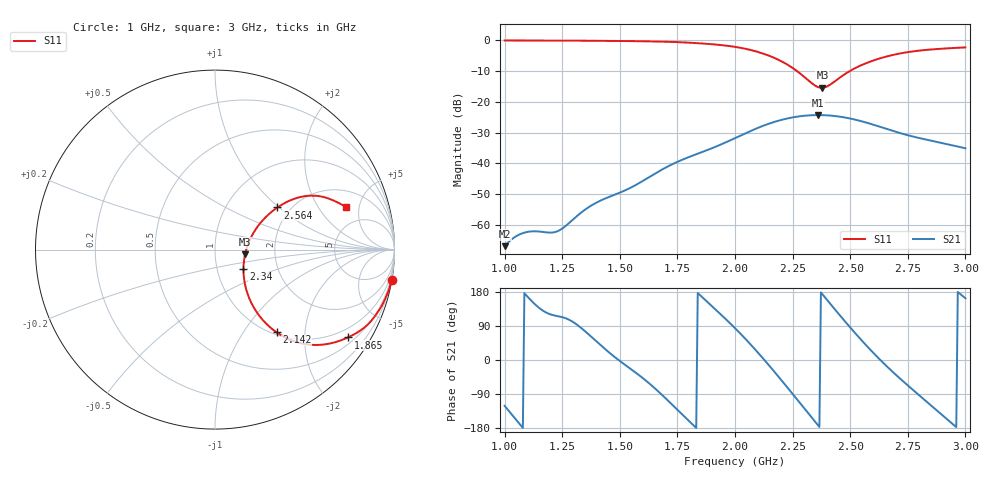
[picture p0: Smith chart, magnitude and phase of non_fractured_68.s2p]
! TOUCHSTONE file generated by CST MICROWAVE STUDIO
! Date and time: Sat Mar  8 13:54:27 2025
! Project name: non_fractured.cst
! Parameters = {B=2.5; D=160; F=25; Feed=2.85625; L=100; M=5; R=0.384908; S=1; Theta=270; length=57.125; wave=114.25}
! Header version: 2024
! Port assignment regex: !\s*Touchstone port\s*([0-9]+)\s*=\s*(CST MWS port|CST DES external port|CST DES block port)\s*(.+)\s* \(\"(.*)\"\)(\s*mode\s*([0-9]+))?.*
! Touchstone port assignment:
! Touchstone port 1 = CST MWS port 1 ("")
! Touchstone port 2 = CST MWS port 2 ("")
# GHz S DB R 50
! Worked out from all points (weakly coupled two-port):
!   304 points, 1 GHz to 3 GHz, reference 50 ohm
!   highest |S21| = -24.29 dB at 2.36 GHz (marker M1); lowest = -66.9 dB at 1 GHz (marker M2)
!   lowest |S11| = -15.4 dB at 2.38 GHz (marker M3), VSWR 1.41, Z = 70 - j3.9 ohm
!   |S11| at or under -10 dB: 2.269 GHz to 2.498 GHz (228.2 MHz wide, 9.58 % of centre)
!   S12 and S22 are empty: the file has one direction only
!   S11 on the Smith chart (normalised r, x): 1 GHz: 0, -12; 1.865 GHz: 0.69, -3.19; 2.142 GHz: 1.04, -1.43; 2.34 GHz: 1.34, -0.30; 2.564 GHz: 1.71, +0.98; 3 GHz: 3.21, +3.71
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1  -0.02 -9.8  -66.94 -120.9  -200.00 0.0  -200.00 0.0
1.0396  -0.02 -10.3  -64.21 -150.4  -200.00 0.0  -200.00 0.0
1.08581  -0.03 -10.9  -62.54 176.2  -200.00 0.0  -200.00 0.0
1.23102  -0.05 -13.2  -62.03 115.7  -200.00 0.0  -200.00 0.0
1.33663  -0.10 -15.2  -55.76 82.4  -200.00 0.0  -200.00 0.0
1.39604  -0.12 -16.4  -52.87 50.4  -200.00 0.0  -200.00 0.0
1.54125  -0.22 -20.1  -48.14 -21.0  -200.00 0.0  -200.00 0.0
1.66667  -0.37 -24.1  -42.72 -82.7  -200.00 0.0  -200.00 0.0
1.75248  -0.57 -27.8  -39.42 -132.8  -200.00 0.0  -200.00 0.0
1.86469  -1.04 -33.5  -36.11 161.8  -200.00 0.0  -200.00 0.0
2.0033  -2.14 -42.8  -31.67 82.1  -200.00 0.0  -200.00 0.0
2.14191  -4.82 -53.4  -27.23 -10.1  -200.00 0.0  -200.00 0.0
2.24092  -8.51 -56.0  -25.18 -82.6  -200.00 0.0  -200.00 0.0
2.33993  -14.30 -34.5  -24.32 -156.9  -200.00 0.0  -200.00 0.0
2.35974  -15.15 -22.7  -24.29 -171.7  -200.00 0.0  -200.00 0.0
2.37954  -15.40 -9.2  -24.31 173.5  -200.00 0.0  -200.00 0.0
2.40594  -14.72 7.6  -24.41 153.9  -200.00 0.0  -200.00 0.0
2.47195  -11.22 28.9  -25.01 105.8  -200.00 0.0  -200.00 0.0
2.56436  -7.55 34.0  -26.62 42.0  -200.00 0.0  -200.00 0.0
2.66997  -5.01 31.5  -29.08 -23.1  -200.00 0.0  -200.00 0.0
2.81518  -3.19 24.3  -32.03 -101.3  -200.00 0.0  -200.00 0.0
3  -2.27 17.9  -35.09 163.0  -200.00 0.0  -200.00 0.0
